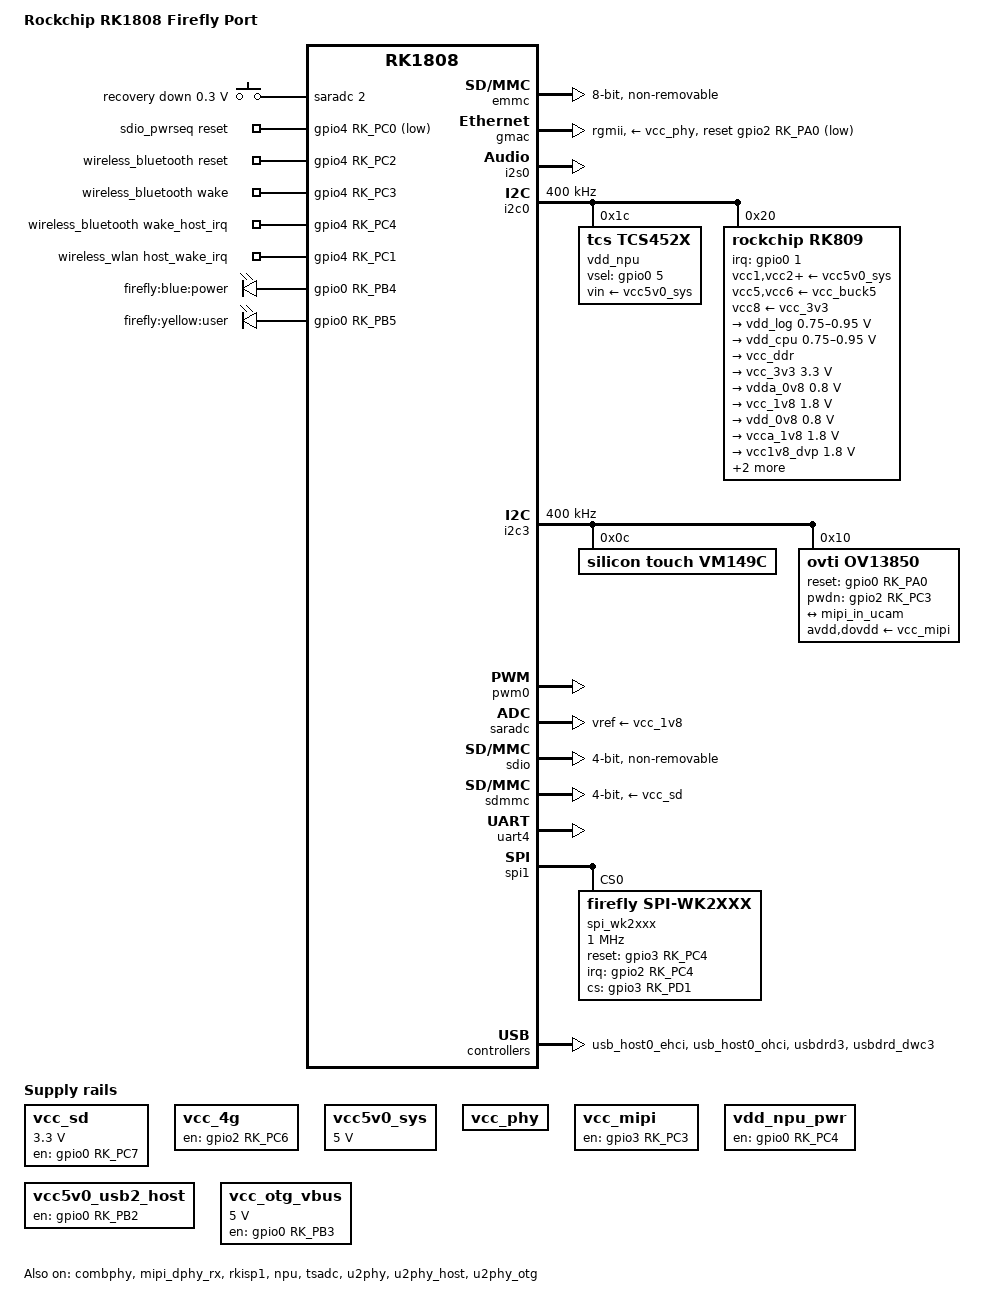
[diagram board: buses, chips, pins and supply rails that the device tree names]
#include <dt-bindings/display/media-bus-format.h>
#include <dt-bindings/gpio/gpio.h>
#include <dt-bindings/input/input.h>
#include <dt-bindings/pinctrl/rockchip.h>
#include <dt-bindings/sensor-dev.h>
#include "rk1808.dtsi"

/ {
	model = "Rockchip RK1808 Firefly Port";
	compatible = "rockchip,rk1808-firefly", "rockchip,rk1808";

	adc_key: adc-keys {
		compatible = "adc-keys";
		autorepeat;
		io-channels = <&saradc 2>;
		io-channel-names = "buttons";
		keyup-threshold-microvolt = <1800000>;
		poll-interval = <100>;
		
		recovery-key {
			linux,code = <KEY_KP9>;
			label = "recovery down";
			press-threshold-microvolt = <300000>;
		};

	};

	display_subsystem: display-subsystem {
		compatible = "rockchip,display-subsystem";
		ports = <&vop_lite_out>, <&vop_raw_out>;
		logo-memory-region = <&drm_logo>;
		status = "disabled";

		route {
			route_csi: route-csi {
				status = "disabled";
				logo,uboot = "logo.bmp";
				logo,kernel = "logo_kernel.bmp";
				logo,mode = "center";
				charge_logo,mode = "center";
				connect = <&vop_raw_out_csi>;
			};

			route_dsi: route-dsi {
				status = "disabled";
				logo,uboot = "logo.bmp";
				logo,kernel = "logo_kernel.bmp";
				logo,mode = "center";
				charge_logo,mode = "center";
				connect = <&vop_lite_out_dsi>;
			};

			route_rgb: route-rgb {
				status = "disabled";
				logo,uboot = "logo.bmp";
				logo,kernel = "logo_kernel.bmp";
				logo,mode = "center";
				charge_logo,mode = "center";
				connect = <&vop_lite_out_rgb>;
			};
		};
	};

    fiq-debugger {
        compatible = "rockchip,fiq-debugger";
        rockchip,serial-id = <2>;
        rockchip,wake-irq = <0>;
        /* If enable uart uses irq instead of fiq */
        rockchip,irq-mode-enable = <0>;
        rockchip,baudrate = <1500000>;  /* Only 115200 and 1500000 */
        interrupts = <GIC_SPI 242 IRQ_TYPE_LEVEL_HIGH>;
        status = "okay";
    };
	
    vcc_sd: vcc-sd {
        compatible = "regulator-fixed";
        enable-active-high;
        gpio = <&gpio0 RK_PC7 GPIO_ACTIVE_HIGH>;
        pinctrl-names = "default";
        pinctrl-0 = <&vcc_sd_h>;
        regulator-name = "vcc_sd";
        regulator-min-microvolt = <3300000>;
        regulator-max-microvolt = <3300000>;
    };
	
	vcc_4g: vcc-4g {
		compatible = "regulator-fixed";
		regulator-always-on;
		enable-active-high;
		gpio = <&gpio2 RK_PC6 GPIO_ACTIVE_HIGH>;
		pinctrl-names = "default";
		pinctrl-0 = <&vcc_4g_h>;
		regulator-name = "vcc_4g";
	};

	reserved-memory {
		#address-cells = <2>;
		#size-cells = <2>;
		ranges;

		drm_logo: drm-logo@00000000 {
			compatible = "rockchip,drm-logo";
			reg = <0x0 0x0 0x0 0x0>;
		};

		ramoops_mem: region@110000 {
			reg = <0x0 0x110000 0x0 0xf0000>;
		};
	};

	ramoops: ramoops {
		compatible = "ramoops";
		record-size = <0x0 0x30000>;
		console-size = <0x0 0xc0000>;
		ftrace-size = <0x0 0x00000>;
		pmsg-size = <0x0 0x00000>;
		memory-region = <&ramoops_mem>;
	};

	rk809_sound: rk809-sound {
		status = "disabled";
		compatible = "simple-audio-card";
		simple-audio-card,format = "i2s";
		simple-audio-card,name = "rockchip,rk809-codec";
		simple-audio-card,mclk-fs = <256>;
		simple-audio-card,widgets =
			"Microphone", "Mic Jack",
			"Headphone", "Headphone Jack";
		simple-audio-card,routing =
			"Mic Jack", "MICBIAS1",
			"IN1P", "Mic Jack",
			"Headphone Jack", "HPOL",
			"Headphone Jack", "HPOR";
		simple-audio-card,cpu {
			sound-dai = <&i2s1>;
		};
		simple-audio-card,codec {
			sound-dai = <&rk809_codec>;
		};
	};

	sdio_pwrseq: sdio-pwrseq {
		compatible = "mmc-pwrseq-simple";
		pinctrl-names = "default";
		pinctrl-0 = <&wifi_enable_h>;

		/*
		 * On the module itself this is one of these (depending
		 * on the actual card populated):
		 * - SDIO_RESET_L_WL_REG_ON
		 * - PDN (power down when low)
		 */
		reset-gpios = <&gpio4 RK_PC0 GPIO_ACTIVE_LOW>;
	};

	vcc5v0_sys: vcc5v0-sys {
		compatible = "regulator-fixed";
		regulator-name = "vcc5v0_sys";
		regulator-always-on;
		regulator-boot-on;
		regulator-min-microvolt = <5000000>;
		regulator-max-microvolt = <5000000>;
	};

	vcc_phy: vcc-phy-regulator {
		compatible = "regulator-fixed";
		regulator-name = "vcc_phy";
		regulator-always-on;
		regulator-boot-on;
	};

    vcc_mipi: vcc_mipi {
        compatible = "regulator-fixed";
        enable-active-high;
        gpio = <&gpio3 RK_PC3 GPIO_ACTIVE_HIGH>;
        pinctrl-names = "default";
        pinctrl-0 = <&dvp_pwr>;
        regulator-name = "vcc_mipi";
       	status = "okay";
    };

    dvdd_1v2: dvdd-1v2 {
        compatible = "regulator-fixed";
        enable-active-high;
       	gpio = <&gpio3 RK_PD3 GPIO_ACTIVE_HIGH>;
        pinctrl-names = "default";
        pinctrl-0 = <&cif_pwr>;
        regulator-name = "dvdd_1v2";
        status = "disabled";
    };

	wireless_bluetooth: wireless-bluetooth {
		compatible = "bluetooth-platdata";
		pinctrl-names = "default", "rts_gpio";
		pinctrl-0 = <&bt_wake_host>;
		BT,reset_gpio    =<&gpio4 RK_PC2 GPIO_ACTIVE_HIGH>;
		BT,wake_gpio = <&gpio4 RK_PC3 GPIO_ACTIVE_HIGH>;
		BT,wake_host_irq = <&gpio4 RK_PC4 GPIO_ACTIVE_HIGH>;
		status = "okay";
	};

	wireless_wlan: wireless-wlan {
		compatible = "wlan-platdata";
		rockchip,grf = <&grf>;
		//sdio_vref = <1800>;
		pinctrl-names = "default";
		pinctrl-0 = <&wifi_wake_host>;
		wifi_chip_type = "ap6356s";
		WIFI,host_wake_irq = <&gpio4 RK_PC1 GPIO_ACTIVE_HIGH>;
		status = "okay";
	};

	vdd_npu_pwr: vdd-npu-pwr {
		compatible = "regulator-fixed";
		regulator-name = "vdd_npu_pwr";
		regulator-boot-on;
		gpio = <&gpio0 RK_PC4 GPIO_ACTIVE_HIGH>;
		enable-active-high;
		regulator-state-mem {
			regulator-off-in-suspend;
		};
	};
    
	vcc5v0_usb2_host: vcc5v0-usb2-host-regulator {
        compatible = "regulator-fixed";
        enable-active-high;
        gpio = <&gpio0 RK_PB2 GPIO_ACTIVE_HIGH>;
        pinctrl-names = "default";
        pinctrl-0 = <&host_vbus_drv>;
        regulator-name = "vcc5v0_usb2_host";
        regulator-always-on;
    };

    vcc_otg_vbus: otg-vbus-regulator {
        compatible = "regulator-fixed";
        gpio = <&gpio0 RK_PB3 GPIO_ACTIVE_HIGH>;
        pinctrl-names = "default";
        pinctrl-0 = <&otg_vbus_drv>;
        regulator-name = "vcc_otg_vbus";
        regulator-min-microvolt = <5000000>;
        regulator-max-microvolt = <5000000>;
        enable-active-high;
		regulator-always-on;
    };

//    rt5640-sound {
//        compatible = "simple-audio-card";
//        simple-audio-card,format = "i2s";
//        simple-audio-card,name = "rockchip,rt5640-codec";
//        simple-audio-card,mclk-fs = <256>;
//        simple-audio-card,widgets =
//            "Microphone", "Mic Jack",
//            "Headphone", "Headphone Jack";
//        simple-audio-card,routing =
//            "Mic Jack", "MICBIAS1",
//            "IN1P", "Mic Jack",
//            "Headphone Jack", "HPOL",
//            "Headphone Jack", "HPOR";
//
//        simple-audio-card,cpu {
//            sound-dai = <&i2s0>;
//        };
//        simple-audio-card,codec {
//            sound-dai = <&rt5640>;
//        };
//    };

    leds {
        compatible = "gpio-leds";

        work {
            label = "firefly:blue:power";
            linux,default-trigger = "ir-power-click";
           	gpios = <&gpio0 RK_PB4 GPIO_ACTIVE_HIGH>;
            pinctrl-names = "default";
            pinctrl-0 = <&led_power>;
            default-state = "on";
        };

        user {
            label = "firefly:yellow:user";
            linux,default-trigger = "ir-user-click";
            gpios = <&gpio0 RK_PB5 GPIO_ACTIVE_HIGH>;
            pinctrl-names = "default";
            pinctrl-0 = <&led_user>;
            default-state = "off";
        };
    };
};

&cpu0 {
	cpu-supply = <&vdd_cpu>;
};

&cpu1 {
	cpu-supply = <&vdd_cpu>;
};

&combphy {
	status = "okay";
};

&emmc {
	bus-width = <8>;
	cap-mmc-highspeed;
	max-frequency = <200000000>;
	mmc-hs200-1_8v;
	supports-emmc;
	non-removable;
	num-slots = <1>;
	status = "okay";
};

&gmac {
	phy-supply = <&vcc_phy>;
	phy-mode = "rgmii";
	clock_in_out = "input";
	snps,force_thresh_dma_mode;
	snps,reset-gpio = <&gpio2 RK_PA0 GPIO_ACTIVE_LOW>;
	snps,reset-active-low;
	/* Reset time is 20ms, 100ms for rtl8211f */
	//snps,reset-delays-us = <0 20000 100000>;
	snps,reset-delays-us = <0 20000 100000>;
	assigned-clocks = <&cru SCLK_GMAC>;
	assigned-clock-parents = <&gmac_clkin>;
	tx_delay = <0x3a>;
	rx_delay = <0x3a>;
};

&i2s0 {
	status = "okay";
	#sound-dai-cells = <0>;
	pinctrl-names = "default";
	pinctrl-0 = <&i2s0_8ch_sclktx 
			&i2s0_8ch_lrcktx
			&i2s0_8ch_lrckrx
			&i2s0_8ch_sdi0
			&i2s0_8ch_sdo0>;
};

&i2c0 {
	status = "okay";
	clock-frequency = <400000>;

	vdd_npu: tcs4525@1c {
		compatible = "tcs,tcs452x";
		reg = <0x1c>;
		vin-supply = <&vcc5v0_sys>;
		regulator-compatible = "fan53555-reg";
		pinctrl-names = "default";
		pinctrl-0 = <&vsel_gpio>;
		vsel-gpios = <&gpio0 5 GPIO_ACTIVE_HIGH>;
		regulator-name = "vdd_npu";
		regulator-min-microvolt = <750000>;
		regulator-max-microvolt = <950000>;
		regulator-ramp-delay = <2300>;
		fcs,suspend-voltage-selector = <0>;
		regulator-boot-on;
		regulator-state-mem {
			regulator-off-in-suspend;
		};
	};

	rk809: pmic@20 {
		compatible = "rockchip,rk809";
		reg = <0x20>;
		interrupt-parent = <&gpio0>;
		interrupts = <1 IRQ_TYPE_LEVEL_LOW>;
		pinctrl-names = "default", "pmic-sleep",
				"pmic-power-off", "pmic-reset";
		pinctrl-0 = <&pmic_int>;
		pinctrl-1 = <&soc_slppin_gpio>, <&rk817_slppin_slp>;
		pinctrl-2 = <&soc_slppin_gpio>, <&rk817_slppin_pwrdn>;
		pinctrl-3 = <&soc_slppin_slp>, <&rk817_slppin_rst>;
		rockchip,system-power-controller;
		wakeup-source;
		#clock-cells = <1>;
		clock-output-names = "rk808-clkout1", "rk808-clkout2";
		//fb-inner-reg-idxs = <2>;
		/* 1: rst regs (default in codes), 0: rst the pmic */
		pmic-reset-func = <0>;

        vcc1-supply = <&vcc5v0_sys>;
        vcc2-supply = <&vcc5v0_sys>;
        vcc3-supply = <&vcc5v0_sys>;
        vcc4-supply = <&vcc5v0_sys>;
        vcc5-supply = <&vcc_buck5>;
        vcc6-supply = <&vcc_buck5>;
        vcc7-supply = <&vcc5v0_sys>;
        vcc8-supply = <&vcc_3v3>;
        vcc9-supply = <&vcc5v0_sys>;

		pwrkey {
			status = "okay";
		};

		rtc {
			status = "okay";
		};

		pinctrl_rk8xx: pinctrl_rk8xx {
			gpio-controller;
			#gpio-cells = <2>;

			rk817_slppin_null: rk817_slppin_null {
				pins = "gpio_slp";
				function = "pin_fun0";
			};

			rk817_slppin_slp: rk817_slppin_slp {
				pins = "gpio_slp";
				function = "pin_fun1";
			};

			rk817_slppin_pwrdn: rk817_slppin_pwrdn {
				pins = "gpio_slp";
				function = "pin_fun2";
			};

			rk817_slppin_rst: rk817_slppin_rst {
				pins = "gpio_slp";
				function = "pin_fun3";
			};
		};

		regulators {
			vdd_log: DCDC_REG1 {
				regulator-always-on;
				regulator-boot-on;
				regulator-min-microvolt = <750000>;
				regulator-max-microvolt = <950000>;
				regulator-ramp-delay = <6001>;
				regulator-initial-mode = <0x2>;
				regulator-name = "vdd_log";
				regulator-state-mem {
					regulator-on-in-suspend;
					regulator-suspend-microvolt = <800000>;
				};
			};

			vdd_cpu: DCDC_REG2 {
				regulator-always-on;
				regulator-boot-on;
				regulator-min-microvolt = <750000>;
				regulator-max-microvolt = <950000>;
				regulator-ramp-delay = <6001>;
				regulator-initial-mode = <0x2>;
				regulator-name = "vdd_cpu";
				regulator-state-mem {
					regulator-off-in-suspend;
				};
			};

			vcc_ddr: DCDC_REG3 {
				regulator-always-on;
				regulator-boot-on;
				regulator-name = "vcc_ddr";
				regulator-initial-mode = <0x2>;
				regulator-state-mem {
					regulator-on-in-suspend;
				};
			};

			vcc_3v3: DCDC_REG4 {
				regulator-always-on;
				regulator-boot-on;
				regulator-min-microvolt = <3300000>;
				regulator-max-microvolt = <3300000>;
				regulator-initial-mode = <0x2>;
				regulator-name = "vcc_3v3";
				regulator-state-mem {
					regulator-on-in-suspend;
					regulator-suspend-microvolt = <3300000>;
				};
			};

			vdda_0v8: LDO_REG1 {
				regulator-always-on;
				regulator-boot-on;
				regulator-min-microvolt = <800000>;
				regulator-max-microvolt = <800000>;
				regulator-name = "vdda_0v8";
				regulator-state-mem {
					regulator-on-in-suspend;
					regulator-suspend-microvolt = <800000>;
				};
			};

			vcc_1v8: LDO_REG2 {
				regulator-always-on;
				regulator-boot-on;
				regulator-min-microvolt = <1800000>;
				regulator-max-microvolt = <1800000>;

				regulator-name = "vcc_1v8";
				regulator-state-mem {
					regulator-on-in-suspend;
					regulator-suspend-microvolt = <1800000>;
				};
			};

			vdd_0v8: LDO_REG3 {
				regulator-always-on;
				regulator-boot-on;
				regulator-min-microvolt = <800000>;
				regulator-max-microvolt = <800000>;

				regulator-name = "vdd_0v8";
				regulator-state-mem {
					regulator-on-in-suspend;
					regulator-suspend-microvolt = <800000>;
				};
			};

			vcca_1v8: LDO_REG4 {
				regulator-always-on;
				regulator-boot-on;
				regulator-min-microvolt = <1800000>;
				regulator-max-microvolt = <1800000>;

				regulator-name = "vcca_1v8";
				regulator-state-mem {
					regulator-on-in-suspend;
					regulator-suspend-microvolt = <1800000>;

				};
			};

			vcc1v8_dvp: LDO_REG5 {
				regulator-always-on;
				regulator-boot-on;
				regulator-min-microvolt = <1800000>;
				regulator-max-microvolt = <1800000>;

				regulator-name = "vcc1v8_dvp";
				regulator-state-mem {
					regulator-off-in-suspend;
					regulator-suspend-microvolt = <1800000>;
				};
			};

			vdd1v5_dvp: LDO_REG6 {
				regulator-min-microvolt = <1200000>;
				regulator-max-microvolt = <1500000>;

				regulator-name = "vdd1v5_dvp";
				regulator-state-mem {
					regulator-off-in-suspend;
					regulator-suspend-microvolt = <1500000>;

				};
			};

			vcc2v8_dvp: LDO_REG7 {
				regulator-always-on;
				regulator-boot-on;
				regulator-min-microvolt = <2800000>;
				regulator-max-microvolt = <2800000>;

				regulator-name = "vcc2v8_dvp";
				regulator-state-mem {
					regulator-off-in-suspend;
					regulator-suspend-microvolt = <2800000>;
				};
			};

			vccio_sd: LDO_REG8 {
				regulator-always-on;
				regulator-boot-on;
				regulator-min-microvolt = <1800000>;
				regulator-max-microvolt = <3300000>;

				regulator-name = "vccio_sd";
				regulator-state-mem {
					regulator-off-in-suspend;
					regulator-suspend-microvolt = <3300000>;
				};
			};

			vcc_wl: LDO_REG9 {
				regulator-always-on;
				regulator-boot-on;
				regulator-min-microvolt = <1800000>;
				regulator-max-microvolt = <1800000>;
				regulator-name = "vcc_wl";
				regulator-state-mem {
					regulator-off-in-suspend;
					regulator-suspend-microvolt = <1800000>;
				};
			};

			vcc_buck5: DCDC_REG5 {
				regulator-always-on;
				regulator-boot-on;
				regulator-min-microvolt = <2200000>;
				regulator-max-microvolt = <2200000>;
				regulator-name = "vcc_buck5";
				regulator-state-mem {
					regulator-on-in-suspend;
					regulator-suspend-microvolt = <2200000>;
				};
			};

			vcc5v0_host: SWITCH_REG1 {
				regulator-always-on;
				regulator-boot-on;
				regulator-name = "vcc5v0_host";
			};

			vccio_3v3: SWITCH_REG2 {
				regulator-always-on;
				regulator-boot-on;
				regulator-name = "vccio_3v3";
			};

		};

		rk809_codec: codec {
			#sound-dai-cells = <0>;
			compatible = "rockchip,rk809-codec", "rockchip,rk817-codec";
			clocks = <&cru SCLK_I2S1_2CH_OUT>;
			clock-names = "mclk";
			pinctrl-names = "default";
			pinctrl-0 = <&i2s1_2ch_mclk>;
			hp-volume = <20>;
			spk-volume = <3>;
			io-channels = <&saradc 3>;
			hp-det-adc-value = <1600>;
			status = "okay";
		};
	};
};

&i2c3 {
	status = "okay";
	clock-frequency = <400000>;	
	i2c-scl-rising-time-ns = <300>;
	i2c-scl-falling-time-ns = <15>;	

	vm149c: vm149c@0c { // vcm 驱动配置,支持 AF 时需要有这个设置
		compatible = "silicon touch,vm149c";
		status = "okay";
		reg = <0x0c>;
		rockchip,vcm-start-current = <0>; // 马达的启动电流
		rockchip,vcm-rated-current = <100>; // 马达的额定电流
		rockchip,vcm-step-mode = <4>; // 马达驱动 ic 的电流输出模式
		rockchip,camera-module-index = <0>; // 模组编号
		rockchip,camera-module-facing = "back"; // 模组朝向,有"back"和"front"
	};

    ov13850: ov13850@10 {
        compatible = "ovti,ov13850";
        status = "okay";
        reg = <0x10>;
        clocks = <&cru SCLK_CIF_OUT>;
        clock-names = "xvclk";

        reset-gpios = <&gpio0 RK_PA0 GPIO_ACTIVE_HIGH>;
        pwdn-gpios = <&gpio2 RK_PC3 GPIO_ACTIVE_HIGH>;
        
		rockchip,camera-module-index = <0>;
        rockchip,camera-module-facing = "back";
        rockchip,camera-module-name = "CMK-CT0116";
        rockchip,camera-module-lens-name = "Largan-50013A1";	
        
		avdd-supply = <&vcc_mipi>; /* VCC28_MIPI */
        dovdd-supply = <&vcc_mipi>; /* VCC18_MIPI */
        //dvdd-supply = <&dvdd_1v2>; /* DVDD_1V2 */
       	
		lens-focus = <&vm149c>; 
		port {
            ucam_out: endpoint {
                remote-endpoint = <&mipi_in_ucam>;
                data-lanes = <1 2>;
            };
        };
    };
};

&isp_mmu {
    status = "okay";
};

&mipi_dphy_rx {
    status = "okay";

    ports {
        #address-cells = <1>;
        #size-cells = <0>;

        port@0 {
            reg = <0>;
            #address-cells = <1>;
            #size-cells = <0>;

            mipi_in_ucam: endpoint@1 {
                reg = <1>;
                remote-endpoint = <&ucam_out>;
                data-lanes = <1 2>;
            };
        };

        port@1 {
            reg = <1>;
            #address-cells = <1>;
            #size-cells = <0>;

            dphy_rx0_out: endpoint@0 {
                reg = <0>;
                remote-endpoint = <&isp0_mipi_in>;
            };
        };
    };
};

&rkisp1 {
    status = "okay"; 

    port {
        #address-cells = <1>;
        #size-cells = <0>;

        isp0_mipi_in: endpoint@0 {
            reg = <0>;
            remote-endpoint = <&dphy_rx0_out>;
        };
    };
};

&npu {
	npu-supply = <&vdd_npu>;
	status = "okay";
};

&pcie0 {
	reset-gpios = <&gpio0 RK_PB6 GPIO_ACTIVE_HIGH>;
	/* Disable usbdrd_dwc3 and usbdrd3 if using pcie0 */
	status = "disabled";
};

&power {
	pd_npu-supply = <&vdd_npu>;
};

&pwm0 {
	status = "okay";
};

&saradc {
	status = "okay";
	vref-supply = <&vcc_1v8>;
};

&tsadc {
	rockchip,hw-tshut-mode = <1>;
	rockchip,hw-tshut-polarity = <0>;
	pinctrl-names = "gpio", "otpout";
	pinctrl-0 = <&tsadc_otp_gpio>;
	pinctrl-1 = <&tsadc_otp_out>;
	status = "okay";
};

&sdio {
	bus-width = <4>;
	disable-wp;
	cap-sdio-irq;
	clock-frequency = <50000000>;
	clock-freq-min-max = <200000 50000000>;
	cap-mmc-highspeed;
	cap-sd-highspeed;
	supports-sdio;
	keep-power-in-suspend;
	non-removable;
	mmc-pwrseq = <&sdio_pwrseq>;
	num-slots = <1>;
	sd-uhs-sdr104;
	status = "okay";
};

&sdmmc {
	bus-width = <4>;
	cap-mmc-highspeed;
	cap-sd-highspeed;
	supports-sd;
	card-detect-delay = <300>;
	sd-uhs-sdr25;
	sd-uhs-sdr50;
	sd-uhs-sdr104;
	vmmc-supply = <&vcc_sd>;
	vqmmc-supply = <&vccio_sd>;
	status = "okay";
};

//bluetooth uart
&uart4 {
	pinctrl-names = "default";
	status = "okay";
};

&spi1 {
   	status = "okay";
    max-freq = <48000000>;
	pinctrl-names = "default";
	pinctrl-0 = <&spi1m1_clk &spi1m1_csn0  &spi1m1_miso &spi1m1_mosi>;
	//pinctrl-1 = <&spi1m1_clk_hs &spi1m1_csn0 &spi1m1_miso_hs &spi1m1_mosi_hs>;
	
	spi_wk2xxx: spi_wk2xxx@00{
        status = "okay";
        compatible = "firefly,spi-wk2xxx";
        reg = <0x00>;
        spi-max-frequency = <1000000>;
        reset-gpio = <&gpio3 RK_PC4 GPIO_ACTIVE_HIGH>;
       	irq-gpio = <&gpio2 RK_PC4 IRQ_TYPE_EDGE_FALLING>;
        cs-gpio = <&gpio3 RK_PD1 GPIO_ACTIVE_HIGH>;
    };
};

&u2phy {
	status = "okay";
};

&u2phy_host {
	status = "okay";
	phy-supply = <&vcc5v0_usb2_host>;
};

&u2phy_otg {
	status = "okay";
	//dr_mode = "otg";
	vbus-supply = <&vcc_otg_vbus>;
};

&usb_host0_ehci {
	status = "okay";
};

&usb_host0_ohci {
	status = "okay";
};

&usbdrd3 {
	status = "okay";
	extcon = <&u2phy>;
};

&usbdrd_dwc3 {
	//dr_mode = "otg";
	status = "okay";
};

&pinctrl {
	pmic {
		pmic_int: pmic_int {
			rockchip,pins =
				<0 RK_PA1 0 &pcfg_pull_up>;
		};

		soc_slppin_gpio: soc_slppin_gpio {
			rockchip,pins =
				<0 RK_PA4 0 &pcfg_output_low>;
		};

		soc_slppin_slp: soc_slppin_slp {
			rockchip,pins =
				<0 RK_PA4 1 &pcfg_pull_none>;
		};

		vsel_gpio: vsel-gpio {
			rockchip,pins =
				<0 RK_PA5 0 &pcfg_pull_down>,
				<0 RK_PC4 1 &pcfg_pull_up>;
		};
	};

	sdio-pwrseq {
		wifi_enable_h: wifi-enable-h {
			rockchip,pins =
				<4 RK_PC0 0 &pcfg_pull_none>;
		};
	};

	usb2 {
		otg_vbus_drv: otg-vbus-drv {
			rockchip,pins = <0 RK_PB3 0 &pcfg_pull_none>;
		};
		
		host_vbus_drv:host-vbus-drv {
			rockchip,pins = <0 RK_PB2 0 &pcfg_pull_none>;
		};
	};

	wireless-bluetooth {
		bt_wake_host: bt-wake-host {
			rockchip,pins = <4 RK_PC2 0 &pcfg_pull_none>;
		};

	};

	wireless-wlan {
		wifi_wake_host: wifi-wake-host {
			rockchip,pins =
				<4 RK_PC1 0 &pcfg_pull_up>;
		};
	};
	
    vcc_sd {
        vcc_sd_h: vcc-sd-h {
            rockchip,pins =
                <0 RK_PC7 RK_FUNC_GPIO &pcfg_pull_up>;
        };
    };
    
	cam {
        cif_pwr: cif-pwr {
            rockchip,pins = <3 RK_PD3 RK_FUNC_GPIO &pcfg_pull_down>;
        };

        dvp_pwr: dvp-pwr {
            rockchip,pins = <3 RK_PC3 RK_FUNC_GPIO &pcfg_pull_down>;
        };
   };

    rt5640 {
        rt5640_hpcon: rt5640-hpcon {
            rockchip,pins = <4 21 RK_FUNC_GPIO &pcfg_pull_none>;
        };
    };

    leds {
        led_power: led-power {
            rockchip,pins = <0 RK_PB4 RK_FUNC_GPIO &pcfg_pull_none>;
        };

        led_user: led-user {
            rockchip,pins = <0 RK_PB5 RK_FUNC_GPIO &pcfg_pull_none>;
        };
    };

	vcc_4g {
		vcc_4g_h: vcc-4g-h {
			rockchip,pins =
				<2 RK_PC6 RK_FUNC_GPIO &pcfg_pull_up>;
		};
	};
};
